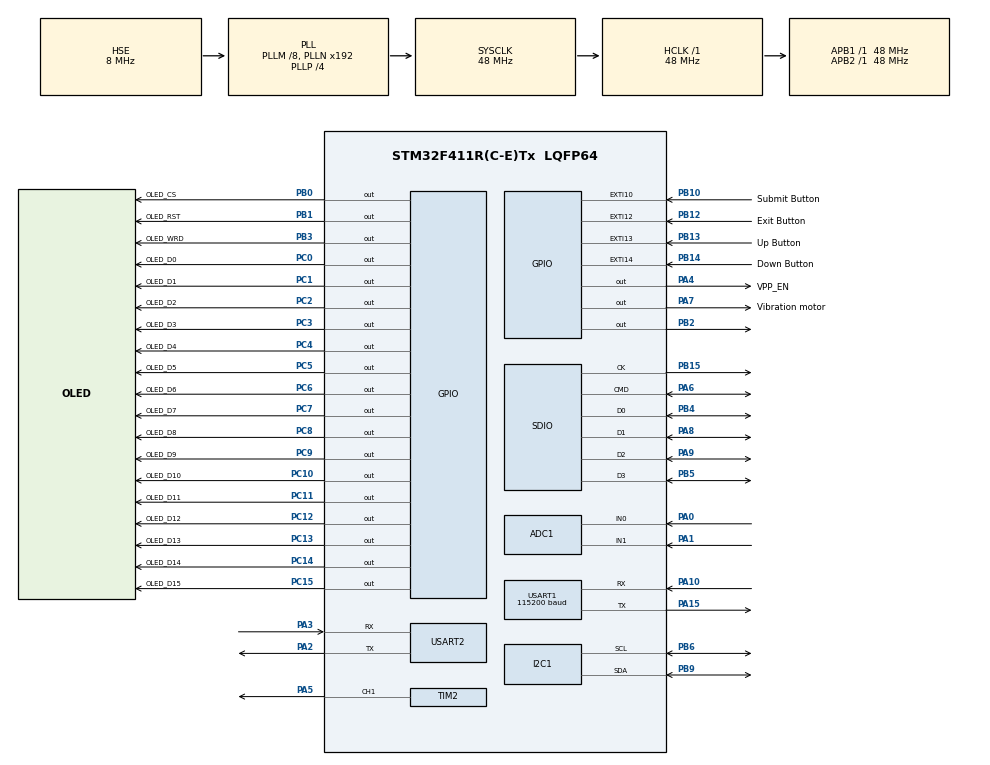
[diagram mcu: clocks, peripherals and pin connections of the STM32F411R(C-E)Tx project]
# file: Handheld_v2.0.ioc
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ADC1.Channel-0\#ChannelRegularConversion=ADC_CHANNEL_0
ADC1.NbrOfConversionFlag=1
ADC1.Rank-0\#ChannelRegularConversion=1
ADC1.SamplingTime-0\#ChannelRegularConversion=ADC_SAMPLETIME_3CYCLES
ADC1.master=1
Dma.ADC1.2.Direction=DMA_PERIPH_TO_MEMORY
Dma.ADC1.2.FIFOMode=DMA_FIFOMODE_DISABLE
Dma.ADC1.2.Instance=DMA2_Stream0
Dma.ADC1.2.MemDataAlignment=DMA_MDATAALIGN_HALFWORD
Dma.ADC1.2.MemInc=DMA_MINC_ENABLE
Dma.ADC1.2.Mode=DMA_NORMAL
Dma.ADC1.2.PeriphDataAlignment=DMA_PDATAALIGN_HALFWORD
Dma.ADC1.2.PeriphInc=DMA_PINC_DISABLE
Dma.ADC1.2.Priority=DMA_PRIORITY_LOW
Dma.I2C1_RX.0.Direction=DMA_PERIPH_TO_MEMORY
Dma.I2C1_RX.0.FIFOMode=DMA_FIFOMODE_DISABLE
Dma.I2C1_RX.0.Instance=DMA1_Stream0
Dma.I2C1_RX.0.MemDataAlignment=DMA_MDATAALIGN_BYTE
Dma.I2C1_RX.0.MemInc=DMA_MINC_ENABLE
Dma.I2C1_RX.0.Mode=DMA_NORMAL
Dma.I2C1_RX.0.PeriphDataAlignment=DMA_PDATAALIGN_BYTE
Dma.I2C1_RX.0.PeriphInc=DMA_PINC_DISABLE
Dma.I2C1_RX.0.Priority=DMA_PRIORITY_LOW
Dma.I2C1_TX.1.Direction=DMA_MEMORY_TO_PERIPH
Dma.I2C1_TX.1.FIFOMode=DMA_FIFOMODE_DISABLE
Dma.I2C1_TX.1.Instance=DMA1_Stream1
Dma.I2C1_TX.1.MemDataAlignment=DMA_MDATAALIGN_BYTE
Dma.I2C1_TX.1.MemInc=DMA_MINC_ENABLE
Dma.I2C1_TX.1.Mode=DMA_NORMAL
Dma.I2C1_TX.1.PeriphDataAlignment=DMA_PDATAALIGN_BYTE
Dma.I2C1_TX.1.PeriphInc=DMA_PINC_DISABLE
Dma.I2C1_TX.1.Priority=DMA_PRIORITY_LOW
Dma.Request0=I2C1_RX
Dma.Request1=I2C1_TX
Dma.Request2=ADC1
Dma.Request3=USART2_RX
Dma.Request4=USART1_RX
Dma.Request5=USART2_TX
Dma.USART1_RX.4.Direction=DMA_PERIPH_TO_MEMORY
Dma.USART1_RX.4.FIFOMode=DMA_FIFOMODE_DISABLE
Dma.USART1_RX.4.Instance=DMA2_Stream2
Dma.USART1_RX.4.MemDataAlignment=DMA_MDATAALIGN_BYTE
Dma.USART1_RX.4.MemInc=DMA_MINC_ENABLE
Dma.USART1_RX.4.Mode=DMA_NORMAL
Dma.USART1_RX.4.PeriphDataAlignment=DMA_PDATAALIGN_BYTE
Dma.USART1_RX.4.PeriphInc=DMA_PINC_DISABLE
Dma.USART1_RX.4.Priority=DMA_PRIORITY_LOW
Dma.USART2_RX.3.Direction=DMA_PERIPH_TO_MEMORY
Dma.USART2_RX.3.FIFOMode=DMA_FIFOMODE_DISABLE
Dma.USART2_RX.3.Instance=DMA1_Stream5
Dma.USART2_RX.3.MemDataAlignment=DMA_MDATAALIGN_BYTE
Dma.USART2_RX.3.MemInc=DMA_MINC_ENABLE
Dma.USART2_RX.3.Mode=DMA_NORMAL
Dma.USART2_RX.3.PeriphDataAlignment=DMA_PDATAALIGN_BYTE
Dma.USART2_RX.3.PeriphInc=DMA_PINC_DISABLE
Dma.USART2_RX.3.Priority=DMA_PRIORITY_LOW
Dma.USART2_TX.5.Direction=DMA_MEMORY_TO_PERIPH
Dma.USART2_TX.5.FIFOMode=DMA_FIFOMODE_DISABLE
Dma.USART2_TX.5.Instance=DMA1_Stream6
Dma.USART2_TX.5.MemDataAlignment=DMA_MDATAALIGN_BYTE
Dma.USART2_TX.5.MemInc=DMA_MINC_ENABLE
Dma.USART2_TX.5.Mode=DMA_NORMAL
Dma.USART2_TX.5.PeriphDataAlignment=DMA_PDATAALIGN_BYTE
Dma.USART2_TX.5.PeriphInc=DMA_PINC_DISABLE
Dma.USART2_TX.5.Priority=DMA_PRIORITY_LOW
FREERTOS.Tasks01=defaultTask,0,1280,StartDefaultTask,Default,NULL,Dynamic,NULL,NULL
FREERTOS.Timers01=sender_Timer,Callback_sender_Timer,osTimerPeriodic,Default,NULL,Dynamic,NULL
FREERTOS.configUSE_TIMERS=1
Mcu.Family=STM32F4
Mcu.Name=STM32F411R(C-E)Tx
Mcu.Package=LQFP64
NVIC.DMA1_Stream0_IRQn=true\:5\:0\:false\:false\:true\:true
NVIC.DMA1_Stream1_IRQn=true\:5\:0\:false\:false\:true\:true
NVIC.DMA1_Stream5_IRQn=true\:5\:0\:false\:false\:true\:true
NVIC.DMA1_Stream6_IRQn=true\:5\:0\:false\:false\:true\:true
NVIC.DMA2_Stream0_IRQn=true\:5\:0\:false\:false\:true\:true
NVIC.DMA2_Stream2_IRQn=true\:5\:0\:false\:false\:true\:true
NVIC.PriorityGroup=NVIC_PRIORITYGROUP_4
NVIC.TIM1_UP_TIM10_IRQn=true\:0\:0\:false\:false\:true\:false
NVIC.TIM2_IRQn=true\:5\:0\:false\:false\:true\:true
NVIC.TimeBase=TIM1_UP_TIM10_IRQn
NVIC.TimeBaseIP=TIM1
NVIC.USART1_IRQn=true\:5\:0\:false\:false\:true\:true
NVIC.USART2_IRQn=true\:5\:0\:false\:false\:true\:true
PA0-WKUP.Signal=ADCx_IN0
PA1.Signal=ADCx_IN1
PA10.Mode=Asynchronous
PA10.Signal=USART1_RX
PA13.Mode=Serial_Wire
PA13.Signal=SYS_JTMS-SWDIO
PA14.Mode=Serial_Wire
PA14.Signal=SYS_JTCK-SWCLK
PA15.Mode=Asynchronous
PA15.Signal=USART1_TX
PA2.Mode=Asynchronous
PA2.Signal=USART2_TX
PA3.Mode=Asynchronous
PA3.Signal=USART2_RX
PA4.GPIO_Label=VPP_EN
PA4.Signal=GPIO_Output
PA5.Signal=S_TIM2_CH1_ETR
PA6.Mode=SD_4_bits_Wide_bus
PA6.Signal=SDIO_CMD
PA7.GPIO_Label=Vibration motor
PA7.Signal=GPIO_Output
PA8.Mode=SD_4_bits_Wide_bus
PA8.Signal=SDIO_D1
PA9.Mode=SD_4_bits_Wide_bus
PA9.Signal=SDIO_D2
PB0.GPIO_Label=OLED_CS
PB0.Signal=GPIO_Output
PB1.GPIO_Label=OLED_RST
PB1.Signal=GPIO_Output
PB10.GPIO_Label=Submit Button
PB10.Signal=GPXTI10
PB12.GPIO_Label=Exit Button
PB12.Signal=GPXTI12
PB13.GPIO_Label=Up Button
PB13.Signal=GPXTI13
PB14.GPIO_Label=Down Button
PB14.Signal=GPXTI14
PB15.Mode=SD_4_bits_Wide_bus
PB15.Signal=SDIO_CK
PB2.Signal=GPIO_Output
PB3.GPIO_Label=OLED_WRD
PB3.Signal=GPIO_Output
PB4.Mode=SD_4_bits_Wide_bus
PB4.Signal=SDIO_D0
PB5.Mode=SD_4_bits_Wide_bus
PB5.Signal=SDIO_D3
PB6.Mode=I2C
PB6.Signal=I2C1_SCL
PB9.Mode=I2C
PB9.Signal=I2C1_SDA
PC0.GPIO_Label=OLED_D0
PC0.Signal=GPIO_Output
PC1.GPIO_Label=OLED_D1
PC1.Signal=GPIO_Output
PC10.GPIO_Label=OLED_D10
PC10.Signal=GPIO_Output
PC11.GPIO_Label=OLED_D11
PC11.Signal=GPIO_Output
PC12.GPIO_Label=OLED_D12
PC12.Signal=GPIO_Output
PC13-ANTI_TAMP.GPIO_Label=OLED_D13
PC13-ANTI_TAMP.Signal=GPIO_Output
PC14-OSC32_IN.GPIO_Label=OLED_D14
PC14-OSC32_IN.Signal=GPIO_Output
PC15-OSC32_OUT.GPIO_Label=OLED_D15
PC15-OSC32_OUT.Signal=GPIO_Output
PC2.GPIO_Label=OLED_D2
PC2.Signal=GPIO_Output
PC3.GPIO_Label=OLED_D3
PC3.Signal=GPIO_Output
PC4.GPIO_Label=OLED_D4
PC4.Signal=GPIO_Output
PC5.GPIO_Label=OLED_D5
PC5.Signal=GPIO_Output
PC6.GPIO_Label=OLED_D6
PC6.Signal=GPIO_Output
PC7.GPIO_Label=OLED_D7
PC7.Signal=GPIO_Output
PC8.GPIO_Label=OLED_D8
PC8.Signal=GPIO_Output
PC9.GPIO_Label=OLED_D9
PC9.Signal=GPIO_Output
PH0\ -\ OSC_IN.Mode=HSE-External-Oscillator
PH0\ -\ OSC_IN.Signal=RCC_OSC_IN
PH1\ -\ OSC_OUT.Mode=HSE-External-Oscillator
PH1\ -\ OSC_OUT.Signal=RCC_OSC_OUT
ProjectManager.HeapSize=0x200
ProjectManager.StackSize=0x400
ProjectManager.TargetToolchain=MDK-ARM V5
RCC.48MHZClocksFreq_Value=48000000
RCC.AHBFreq_Value=48000000
RCC.APB1Freq_Value=48000000
RCC.APB1TimFreq_Value=48000000
RCC.APB2Freq_Value=48000000
RCC.APB2TimFreq_Value=48000000
RCC.CortexFreq_Value=48000000
RCC.HCLKFreq_Value=48000000
RCC.HSE_VALUE=8000000
RCC.HSI_VALUE=16000000
RCC.LSE_VALUE=32768
RCC.PLLM=8
RCC.PLLP=RCC_PLLP_DIV4
RCC.PLLSourceVirtual=RCC_PLLSOURCE_HSE
RCC.SYSCLKFreq_VALUE=48000000
RCC.SYSCLKSource=RCC_SYSCLKSOURCE_PLLCLK
RCC.VCOOutputFreq_Value=192000000
SDIO.ClockDiv=23
SH.ADCx_IN0.0=ADC1_IN0,IN0
SH.ADCx_IN1.0=ADC1_IN1,IN1
SH.S_TIM2_CH1_ETR.0=TIM2_CH1,PWM Generation1 CH1
TIM2.Channel-PWM\ Generation1\ CH1=TIM_CHANNEL_1
TIM2.Period=100-1
TIM2.Prescaler=480-1
TIM2.TIM_MasterOutputTrigger=TIM_TRGO_RESET
TIM2.TIM_MasterSlaveMode=TIM_MASTERSLAVEMODE_DISABLE
USART1.BaudRate=115200
USART1.Mode=MODE_TX_RX
USART1.VirtualMode=VM_ASYNC
USART2.VirtualMode=VM_ASYNC
VP_FATFS_VS_SDIO.Mode=SDIO
VP_FREERTOS_VS_ENABLE.Mode=Enabled
VP_RTC_VS_RTC_Activate.Mode=RTC_Enabled
VP_RTC_VS_RTC_Calendar.Mode=RTC_Calendar
VP_RTC_VS_RTC_WakeUp_intern.Mode=WakeUp
VP_SYS_VS_tim1.Mode=TIM1
VP_TIM2_VS_ClockSourceINT.Mode=Internal
board=Handheld_v2.0

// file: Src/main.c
/**
  ******************************************************************************
  * File Name          : main.c
  * Description        : Main program body
  ******************************************************************************
  * This notice applies to any and all portions of this file
  * that are not between comment pairs USER CODE BEGIN and
  * USER CODE END. Other portions of this file, whether
  * inserted by the user or by software development tools
  * are owned by their respective copyright owners.
  *
  * Copyright (c) 2017 STMicroelectronics International N.V.
  * All rights reserved.
  *
  * Redistribution and use in source and binary forms, with or without
  * modification, are permitted, provided that the following conditions are met:
  *
  * 1. Redistribution of source code must retain the above copyright notice,
  *    this list of conditions and the following disclaimer.
  * 2. Redistributions in binary form must reproduce the above copyright notice,
  *    this list of conditions and the following disclaimer in the documentation
  *    and/or other materials provided with the distribution.
  * 3. Neither the name of STMicroelectronics nor the names of other
  *    contributors to this software may be used to endorse or promote products
  *    derived from this software without specific written permission.
  * 4. This software, including modifications and/or derivative works of this
  *    software, must execute solely and exclusively on microcontroller or
  *    microprocessor devices manufactured by or for STMicroelectronics.
  * 5. Redistribution and use of this software other than as permitted under
  *    this license is void and will automatically terminate your rights under
  *    this license.
  *
  * THIS SOFTWARE IS PROVIDED BY STMICROELECTRONICS AND CONTRIBUTORS "AS IS"
  * AND ANY EXPRESS, IMPLIED OR STATUTORY WARRANTIES, INCLUDING, BUT NOT
  * LIMITED TO, THE IMPLIED WARRANTIES OF MERCHANTABILITY, FITNESS FOR A
  * PARTICULAR PURPOSE AND NON-INFRINGEMENT OF THIRD PARTY INTELLECTUAL PROPERTY
  * RIGHTS ARE DISCLAIMED TO THE FULLEST EXTENT PERMITTED BY LAW. IN NO EVENT
  * SHALL STMICROELECTRONICS OR CONTRIBUTORS BE LIABLE FOR ANY DIRECT, INDIRECT,
  * INCIDENTAL, SPECIAL, EXEMPLARY, OR CONSEQUENTIAL DAMAGES (INCLUDING, BUT NOT
  * LIMITED TO, PROCUREMENT OF SUBSTITUTE GOODS OR SERVICES; LOSS OF USE, DATA,
  * OR PROFITS; OR BUSINESS INTERRUPTION) HOWEVER CAUSED AND ON ANY THEORY OF
  * LIABILITY, WHETHER IN CONTRACT, STRICT LIABILITY, OR TORT (INCLUDING
  * NEGLIGENCE OR OTHERWISE) ARISING IN ANY WAY OUT OF THE USE OF THIS SOFTWARE,
  * EVEN IF ADVISED OF THE POSSIBILITY OF SUCH DAMAGE.
  *
  ******************************************************************************
  */
#include "main.h"
#include "stm32f4xx_hal.h"
#include "cmsis_os.h"
#include "adc.h"
#include "dma.h"
#include "fatfs.h"
#include "i2c.h"
#include "rtc.h"
#include "sdio.h"
#include "tim.h"
#include "usart.h"
#include "gpio.h"

/* USER CODE BEGIN PV */
/* Private variables ---------------------------------------------------------*/
const uint8_t APBPrescTable[8] = {0, 0, 0, 0, 1, 2, 3, 4};
/* USER CODE END PV */

void SystemClock_Config(void);
void MX_FREERTOS_Init(void);

/* USER CODE BEGIN PFP */
/* Private function prototypes -----------------------------------------------*/

/* USER CODE END PFP */

int main(void)
{

  /* MCU Configuration----------------------------------------------------------*/

  /* Reset of all peripherals, Initializes the Flash interface and the Systick. */
  HAL_Init();

  /* Configure the system clock */
  SystemClock_Config();

  /* Initialize all configured peripherals */
  MX_GPIO_Init();
  MX_DMA_Init();
  MX_ADC1_Init();
  MX_I2C1_Init();
  MX_RTC_Init();
  MX_TIM2_Init();
  MX_USART1_UART_Init();
  MX_USART2_UART_Init();
  MX_SDIO_SD_Init();

  /* USER CODE BEGIN 2 */
	BSP_SD_Init();

  /* USER CODE END 2 */

  /* Call init function for freertos objects (in freertos.c) */
  MX_FREERTOS_Init();

  /* Start scheduler */
  osKernelStart();

  /* We should never get here as control is now taken by the scheduler */

  /* Infinite loop */
  while (1)
  {

  }

}

/** System Clock Configuration
*/
void SystemClock_Config(void)
{

  RCC_OscInitTypeDef RCC_OscInitStruct;
  RCC_ClkInitTypeDef RCC_ClkInitStruct;
  RCC_PeriphCLKInitTypeDef PeriphClkInitStruct;

    /**Configure the main internal regulator output voltage
    */
  __HAL_RCC_PWR_CLK_ENABLE();

  __HAL_PWR_VOLTAGESCALING_CONFIG(PWR_REGULATOR_VOLTAGE_SCALE1);

    /**Initializes the CPU, AHB and APB busses clocks
    */
  RCC_OscInitStruct.OscillatorType = RCC_OSCILLATORTYPE_LSI|RCC_OSCILLATORTYPE_HSE;
  RCC_OscInitStruct.HSEState = RCC_HSE_ON;
  RCC_OscInitStruct.LSIState = RCC_LSI_ON;
  RCC_OscInitStruct.PLL.PLLState = RCC_PLL_ON;
  RCC_OscInitStruct.PLL.PLLSource = RCC_PLLSOURCE_HSE;
  RCC_OscInitStruct.PLL.PLLM = 8;
  RCC_OscInitStruct.PLL.PLLN = 192;
  RCC_OscInitStruct.PLL.PLLP = RCC_PLLP_DIV4;
  RCC_OscInitStruct.PLL.PLLQ = 4;
  if (HAL_RCC_OscConfig(&RCC_OscInitStruct) != HAL_OK)
  {
    _Error_Handler(__FILE__, __LINE__);
  }

    /**Initializes the CPU, AHB and APB busses clocks
    */
  RCC_ClkInitStruct.ClockType = RCC_CLOCKTYPE_HCLK|RCC_CLOCKTYPE_SYSCLK
                              |RCC_CLOCKTYPE_PCLK1|RCC_CLOCKTYPE_PCLK2;
  RCC_ClkInitStruct.SYSCLKSource = RCC_SYSCLKSOURCE_PLLCLK;
  RCC_ClkInitStruct.AHBCLKDivider = RCC_SYSCLK_DIV1;
  RCC_ClkInitStruct.APB1CLKDivider = RCC_HCLK_DIV1;
  RCC_ClkInitStruct.APB2CLKDivider = RCC_HCLK_DIV1;

  if (HAL_RCC_ClockConfig(&RCC_ClkInitStruct, FLASH_LATENCY_1) != HAL_OK)
  {
    _Error_Handler(__FILE__, __LINE__);
  }

  PeriphClkInitStruct.PeriphClockSelection = RCC_PERIPHCLK_RTC;
  PeriphClkInitStruct.RTCClockSelection = RCC_RTCCLKSOURCE_LSI;
  if (HAL_RCCEx_PeriphCLKConfig(&PeriphClkInitStruct) != HAL_OK)
  {
    _Error_Handler(__FILE__, __LINE__);
  }

    /**Configure the Systick interrupt time
    */
  HAL_SYSTICK_Config(HAL_RCC_GetHCLKFreq()/1000);

    /**Configure the Systick
    */
  HAL_SYSTICK_CLKSourceConfig(SYSTICK_CLKSOURCE_HCLK);

  /* SysTick_IRQn interrupt configuration */
  HAL_NVIC_SetPriority(SysTick_IRQn, 15, 0);
}

void HAL_TIM_PeriodElapsedCallback(TIM_HandleTypeDef *htim)
{
  if (htim->Instance == TIM1) {
    HAL_IncTick();
  }
}

void _Error_Handler(char * file, int line)
{
  while(1)
  {
  }
}

/************************ (C) COPYRIGHT STMicroelectronics *****END OF FILE****/

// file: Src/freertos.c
/**
  ******************************************************************************
  * File Name          : freertos.c
  * Description        : Code for freertos applications
  ******************************************************************************
  * This notice applies to any and all portions of this file
  * that are not between comment pairs USER CODE BEGIN and
  * USER CODE END. Other portions of this file, whether
  * inserted by the user or by software development tools
  * are owned by their respective copyright owners.
  *
  * Copyright (c) 2017 STMicroelectronics International N.V.
  * All rights reserved.
  *
  * Redistribution and use in source and binary forms, with or without
  * modification, are permitted, provided that the following conditions are met:
  *
  * 1. Redistribution of source code must retain the above copyright notice,
  *    this list of conditions and the following disclaimer.
  * 2. Redistributions in binary form must reproduce the above copyright notice,
  *    this list of conditions and the following disclaimer in the documentation
  *    and/or other materials provided with the distribution.
  * 3. Neither the name of STMicroelectronics nor the names of other
  *    contributors to this software may be used to endorse or promote products
  *    derived from this software without specific written permission.
  * 4. This software, including modifications and/or derivative works of this
  *    software, must execute solely and exclusively on microcontroller or
  *    microprocessor devices manufactured by or for STMicroelectronics.
  * 5. Redistribution and use of this software other than as permitted under
  *    this license is void and will automatically terminate your rights under
  *    this license.
  *
  * THIS SOFTWARE IS PROVIDED BY STMICROELECTRONICS AND CONTRIBUTORS "AS IS"
  * AND ANY EXPRESS, IMPLIED OR STATUTORY WARRANTIES, INCLUDING, BUT NOT
  * LIMITED TO, THE IMPLIED WARRANTIES OF MERCHANTABILITY, FITNESS FOR A
  * PARTICULAR PURPOSE AND NON-INFRINGEMENT OF THIRD PARTY INTELLECTUAL PROPERTY
  * RIGHTS ARE DISCLAIMED TO THE FULLEST EXTENT PERMITTED BY LAW. IN NO EVENT
  * SHALL STMICROELECTRONICS OR CONTRIBUTORS BE LIABLE FOR ANY DIRECT, INDIRECT,
  * INCIDENTAL, SPECIAL, EXEMPLARY, OR CONSEQUENTIAL DAMAGES (INCLUDING, BUT NOT
  * LIMITED TO, PROCUREMENT OF SUBSTITUTE GOODS OR SERVICES; LOSS OF USE, DATA,
  * OR PROFITS; OR BUSINESS INTERRUPTION) HOWEVER CAUSED AND ON ANY THEORY OF
  * LIABILITY, WHETHER IN CONTRACT, STRICT LIABILITY, OR TORT (INCLUDING
  * NEGLIGENCE OR OTHERWISE) ARISING IN ANY WAY OUT OF THE USE OF THIS SOFTWARE,
  * EVEN IF ADVISED OF THE POSSIBILITY OF SUCH DAMAGE.
  *
  ******************************************************************************
  */

#include "FreeRTOS.h"
#include "task.h"
#include "cmsis_os.h"

/* USER CODE BEGIN Includes */
#include "sys.h"
#include "SDCard.h"
/* USER CODE END Includes */

osThreadId defaultTaskHandle;
osTimerId sender_TimerHandle;

/* USER CODE BEGIN Variables */
osThreadId keyTaskHandle;

/* USER CODE END Variables */

void StartDefaultTask(void const * argument);
void Callback_sender_Timer(void const * argument);

extern void MX_FATFS_Init(void);
void MX_FREERTOS_Init(void); /* (MISRA C 2004 rule 8.1) */

/* USER CODE BEGIN FunctionPrototypes */
void KeyTask(void const * argument);

/* USER CODE END FunctionPrototypes */

/* Hook prototypes */

/* Init FreeRTOS */

void MX_FREERTOS_Init(void) {

  /* Create the timer(s) */
  /* definition and creation of sender_Timer */
  osTimerDef(sender_Timer, Callback_sender_Timer);
  sender_TimerHandle = osTimerCreate(osTimer(sender_Timer), osTimerPeriodic, NULL);

  /* USER CODE BEGIN RTOS_TIMERS */
  /* start timers, add new ones, ... */
  osTimerStart(sender_TimerHandle,1);

  /* USER CODE END RTOS_TIMERS */

  /* Create the thread(s) */
  /* definition and creation of defaultTask */
  osThreadDef(defaultTask, StartDefaultTask, osPriorityNormal, 0, 1280);
  defaultTaskHandle = osThreadCreate(osThread(defaultTask), NULL);

  /* USER CODE BEGIN RTOS_THREADS */
  osThreadDef(keyTask, KeyTask, osPriorityNormal, 0, 1280);
  keyTaskHandle = osThreadCreate(osThread(keyTask), NULL);
  /* add threads, ... */
  /* USER CODE END RTOS_THREADS */

}

/* StartDefaultTask function */
void StartDefaultTask(void const * argument)
{
  /* init code for FATFS */
  MX_FATFS_Init();

  /* USER CODE BEGIN StartDefaultTask */
  uint32_t count;
  BELL_ON;
  osDelay(100);
  BELL_OFF;
  sys_data_init();
  Write_StartData_To_SDCard();
  HAL_UART_Receive_IT(&huart1,(uint8_t *)&rx_buffer_1.s1,1);
  HAL_TIM_PWM_Start(&htim2, TIM_CHANNEL_1);

  /* Infinite loop */
  for(;;)
  {
    while(sys.Get_Flat==0)
    {
      if(sys.key>0)
      {
        SendKey(0xfe,sys.key);
        sys.key=0;
      }
      osDelay(10);
    }
    if(sys.key>0)
    {
      SendKey(0xfe,sys.key);
      sys.key=0;
    }
    sys.Get_Flat=0;
    Generate_Data(&Data_Pack,1,20,(unsigned char *)sys.ecg1buff);//ecg data
    Generate_Data(&Data_Pack,2,20,(unsigned char *)sys.ecg2buff);
    Generate_Data(&Data_Pack,3,20,(unsigned char *)sys.ecg3buff);
    Generate_Data(&Data_Pack,4,8,(unsigned char *)sys.mpuAxbuff);//mpu data
    Generate_Data(&Data_Pack,5,8,(unsigned char *)sys.mpuAybuff);
    Generate_Data(&Data_Pack,6,8,(unsigned char *)sys.mpuAzbuff);
    Generate_Data(&Data_Pack,7,4,(unsigned char *)&sys.ZuKang);//huxi data
    SendPACK(0xff,Data_Pack.size,Data_Pack.buffer);
    Data_Pack.size=0;
  }
  /* USER CODE END StartDefaultTask */
}

/* Callback_sender_Timer function */
void Callback_sender_Timer(void const * argument)
{
  /* USER CODE BEGIN Callback_sender_Timer */
    static int count=0,countmpu=0,countother=0,i;
    static unsigned char temp=0,temp2=0;
  //HAL_GPIO_TogglePin(GPIOA,GPIO_PIN_5);
  switch(count++)
  {
    case 0:
      break;
    case 1:
      count=0;
      break;
    default:break;
  }
  /* USER CODE END Callback_sender_Timer */
}

/* USER CODE BEGIN Application */
void KeyTask(void const * argument)
{
  /* init code for FATFS */
  uint32_t count,key=0,key_new=0;

  /* USER CODE BEGIN StartDefaultTask */
  /* Infinite loop */
  for(;;)
  {
    key=GetPress();
    if(key>0)
    {
     sys.key=key;
      BELL_ON;
      osDelay(50);
      BELL_OFF;

    }
    osDelay(20);
  }
  /* USER CODE END StartDefaultTask */
}
/* USER CODE END Application */

/************************ (C) COPYRIGHT STMicroelectronics *****END OF FILE****/
